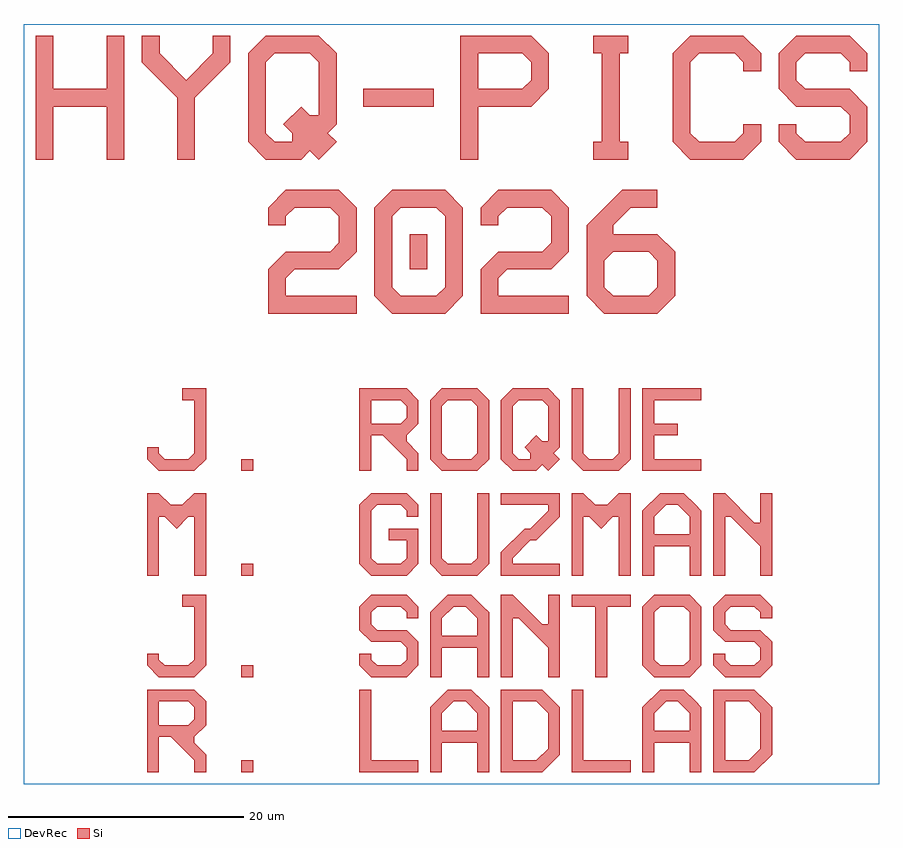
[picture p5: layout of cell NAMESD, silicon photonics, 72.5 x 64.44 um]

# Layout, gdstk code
import gdstk
lib = gdstk.Library(unit=1e-6, precision=1e-09)
def R(c, l, rs):  # rectangles x0, y0, x1, y1
    for r in rs: c.add(gdstk.rectangle(r[:2], r[2:], *l))
def P(c, l, *ps):  # polygons
    for p in ps: c.add(gdstk.Polygon(p, *l))
Si = (1, 0)
DevRec = (68, 0)

namesd = lib.new_cell('NAMESD')
R(namesd, Si, [(17.44,0,18.44,1), (17.44,8.05,18.44,9.05), (17.44,16.66,18.44,17.66), (17.44,25.55,18.44,26.55), (31.71,42.63,33.21,45.63), (27.75,56.44,33.75,57.94)])
P(namesd, Si, [(0,51.94),(0,62.44),(1.5,62.44),(1.5,57.94),(6,57.94),(6,62.44),(7.5,62.44),(7.5,51.94),(6,51.94),(6,56.44),(1.5,56.44),(1.5,51.94)],
  [(12,51.94),(12,57.19),(9,60.19),(9,62.44),(10.5,62.44),(10.5,60.94),(12.75,58.69),(15,60.94),(15,62.44),(16.5,62.44),(16.5,60.19),(13.5,57.19),(13.5,51.94)],
  [(19.5,51.94),(18,53.44),(18,60.94),(19.5,62.44),(24,62.44),(25.5,60.94),(20.25,60.94),(19.5,60.19),(19.5,54.19),(20.25,53.44),(21.75,53.44),(21.75,54.19),(21,54.94),(22.5,56.44),(23.25,55.69),(24,55.69),(24,60.19),(23.25,60.94),(25.5,60.94),(25.5,54.94),(24.75,54.19),(25.5,53.44),(24,51.94),(23.25,52.69),(22.5,51.94)],
  [(36,51.94),(36,62.44),(42,62.44),(43.5,60.94),(43.5,57.94),(42,56.44),(37.5,56.44),(37.5,57.94),(41.25,57.94),(42,58.69),(42,60.19),(41.25,60.94),(37.5,60.94),(37.5,51.94)],
  [(47.25,51.94),(47.25,53.44),(48,53.44),(48,60.94),(47.25,60.94),(47.25,62.44),(50.25,62.44),(50.25,60.94),(49.5,60.94),(49.5,53.44),(50.25,53.44),(50.25,51.94)],
  [(55.5,51.94),(54,53.44),(54,60.94),(55.5,62.44),(60,62.44),(61.5,60.94),(61.5,59.44),(60,59.44),(60,60.19),(59.25,60.94),(56.25,60.94),(55.5,60.19),(55.5,54.19),(56.25,53.44),(59.25,53.44),(60,54.19),(60,54.94),(61.5,54.94),(61.5,53.44),(60,51.94)],
  [(64.5,51.94),(63,53.44),(63,54.94),(64.5,54.94),(64.5,54.19),(65.25,53.44),(68.25,53.44),(69,54.19),(69,55.69),(68.25,56.44),(64.5,56.44),(63,57.94),(63,60.94),(64.5,62.44),(69,62.44),(70.5,60.94),(70.5,59.44),(69,59.44),(69,60.19),(68.25,60.94),(65.25,60.94),(64.5,60.19),(64.5,58.69),(65.25,57.94),(69,57.94),(70.5,56.44),(70.5,53.44),(69,51.94)],
  [(19.71,38.88),(19.71,42.63),(21.21,44.13),(24.96,44.13),(25.71,44.88),(25.71,47.13),(24.96,47.88),(21.96,47.88),(21.21,47.13),(21.21,46.38),(19.71,46.38),(19.71,47.88),(21.21,49.38),(25.71,49.38),(27.21,47.88),(27.21,44.13),(25.71,42.63),(21.96,42.63),(21.21,41.88),(21.21,40.38),(27.21,40.38),(27.21,38.88)],
  [(30.21,38.88),(28.71,40.38),(28.71,47.88),(30.21,49.38),(34.71,49.38),(36.21,47.88),(30.96,47.88),(30.21,47.13),(30.21,41.13),(30.96,40.38),(33.96,40.38),(34.71,41.13),(34.71,47.13),(33.96,47.88),(36.21,47.88),(36.21,40.38),(34.71,38.88)],
  [(37.71,38.88),(37.71,42.63),(39.21,44.13),(42.96,44.13),(43.71,44.88),(43.71,47.13),(42.96,47.88),(39.96,47.88),(39.21,47.13),(39.21,46.38),(37.71,46.38),(37.71,47.88),(39.21,49.38),(43.71,49.38),(45.21,47.88),(45.21,44.13),(43.71,42.63),(39.96,42.63),(39.21,41.88),(39.21,40.38),(45.21,40.38),(45.21,38.88)],
  [(48.21,38.88),(46.71,40.38),(46.71,46.38),(49.71,49.38),(52.71,49.38),(52.71,47.88),(50.46,47.88),(48.96,46.38),(48.96,45.63),(52.71,45.63),(54.21,44.13),(48.96,44.13),(48.21,43.38),(48.21,41.13),(48.96,40.38),(51.96,40.38),(52.71,41.13),(52.71,43.38),(51.96,44.13),(54.21,44.13),(54.21,40.38),(52.71,38.88)],
  [(10.44,25.55),(9.44,26.55),(9.44,27.55),(10.44,27.55),(10.44,27.05),(10.94,26.55),(12.94,26.55),(13.44,27.05),(13.44,31.55),(12.44,31.55),(12.44,32.55),(14.44,32.55),(14.44,26.55),(13.44,25.55)],
  [(27.44,25.55),(27.44,32.55),(31.44,32.55),(32.44,31.55),(28.44,31.55),(28.44,29.55),(30.94,29.55),(31.44,30.05),(31.44,31.05),(30.94,31.55),(32.44,31.55),(32.44,29.55),(31.44,28.55),(31.44,28.05),(32.44,27.05),(32.44,25.55),(31.44,25.55),(31.44,26.55),(29.44,28.55),(28.44,28.55),(28.44,25.55)],
  [(34.44,25.55),(33.44,26.55),(33.44,31.55),(34.44,32.55),(37.44,32.55),(38.44,31.55),(38.44,29.05),(37.44,29.05),(37.44,31.05),(36.94,31.55),(34.94,31.55),(34.44,31.05),(34.44,27.05),(34.94,26.55),(36.94,26.55),(37.44,27.05),(37.44,29.05),(38.44,29.05),(38.44,26.55),(37.44,25.55)],
  [(40.44,25.55),(39.44,26.55),(39.44,31.55),(40.44,32.55),(43.44,32.55),(44.44,31.55),(40.94,31.55),(40.44,31.05),(40.44,27.05),(40.94,26.55),(41.94,26.55),(41.94,27.05),(41.44,27.55),(42.44,28.55),(42.94,28.05),(43.44,28.05),(43.44,31.05),(42.94,31.55),(44.44,31.55),(44.44,27.55),(43.94,27.05),(44.44,26.55),(43.44,25.55),(42.94,26.05),(42.44,25.55)],
  [(46.44,25.55),(45.44,26.55),(45.44,32.55),(46.44,32.55),(46.44,27.05),(46.94,26.55),(48.94,26.55),(49.44,27.05),(49.44,32.55),(50.44,32.55),(50.44,26.55),(49.44,25.55)],
  [(51.44,25.55),(51.44,32.55),(56.44,32.55),(56.44,31.55),(52.44,31.55),(52.44,29.55),(54.44,29.55),(54.44,28.55),(52.44,28.55),(52.44,26.55),(56.44,26.55),(56.44,25.55)],
  [(9.44,16.66),(9.44,23.66),(10.44,23.66),(11.44,22.66),(12.44,22.66),(13.44,23.66),(14.44,23.66),(14.44,16.66),(13.44,16.66),(13.44,21.66),(12.94,21.66),(11.94,20.66),(10.94,21.66),(10.44,21.66),(10.44,16.66)],
  [(28.44,16.66),(27.44,17.66),(27.44,22.66),(28.44,23.66),(31.44,23.66),(32.44,22.66),(32.44,21.66),(31.44,21.66),(31.44,22.16),(30.94,22.66),(28.94,22.66),(28.44,22.16),(28.44,18.16),(28.94,17.66),(30.94,17.66),(31.44,18.16),(31.44,19.66),(29.94,19.66),(29.94,20.66),(32.44,20.66),(32.44,17.66),(31.44,16.66)],
  [(34.44,16.66),(33.44,17.66),(33.44,23.66),(34.44,23.66),(34.44,18.16),(34.94,17.66),(36.94,17.66),(37.44,18.16),(37.44,23.66),(38.44,23.66),(38.44,17.66),(37.44,16.66)],
  [(39.44,16.66),(39.44,18.66),(41.44,20.66),(41.94,20.66),(43.44,22.16),(43.44,22.66),(39.44,22.66),(39.44,23.66),(44.44,23.66),(44.44,21.66),(42.44,19.66),(41.94,19.66),(40.44,18.16),(40.44,17.66),(44.44,17.66),(44.44,16.66)],
  [(45.44,16.66),(45.44,23.66),(46.44,23.66),(47.44,22.66),(48.44,22.66),(49.44,23.66),(50.44,23.66),(50.44,16.66),(49.44,16.66),(49.44,21.66),(48.94,21.66),(47.94,20.66),(46.94,21.66),(46.44,21.66),(46.44,16.66)],
  [(51.44,16.66),(51.44,22.16),(52.94,23.66),(54.94,23.66),(55.94,22.66),(53.44,22.66),(52.44,21.66),(52.44,20.16),(55.44,20.16),(55.44,21.66),(54.44,22.66),(55.94,22.66),(56.44,22.16),(56.44,16.66),(55.44,16.66),(55.44,19.16),(52.44,19.16),(52.44,16.66)],
  [(57.44,16.66),(57.44,23.66),(58.44,23.66),(60.94,21.16),(61.44,21.16),(61.44,23.66),(62.44,23.66),(62.44,16.66),(61.44,16.66),(61.44,19.16),(58.94,21.66),(58.44,21.66),(58.44,16.66)],
  [(10.44,8.05),(9.44,9.05),(9.44,10.05),(10.44,10.05),(10.44,9.55),(10.94,9.05),(12.94,9.05),(13.44,9.55),(13.44,14.05),(12.44,14.05),(12.44,15.05),(14.44,15.05),(14.44,9.05),(13.44,8.05)],
  [(28.44,8.05),(27.44,9.05),(27.44,10.05),(28.44,10.05),(28.44,9.55),(28.94,9.05),(30.94,9.05),(31.44,9.55),(31.44,10.55),(30.94,11.05),(28.44,11.05),(27.44,12.05),(27.44,14.05),(28.44,15.05),(31.44,15.05),(32.44,14.05),(32.44,13.05),(31.44,13.05),(31.44,13.55),(30.94,14.05),(28.94,14.05),(28.44,13.55),(28.44,12.55),(28.94,12.05),(31.44,12.05),(32.44,11.05),(32.44,9.05),(31.44,8.05)],
  [(33.44,8.05),(33.44,13.55),(34.94,15.05),(36.94,15.05),(37.94,14.05),(35.44,14.05),(34.44,13.05),(34.44,11.55),(37.44,11.55),(37.44,13.05),(36.44,14.05),(37.94,14.05),(38.44,13.55),(38.44,8.05),(37.44,8.05),(37.44,10.55),(34.44,10.55),(34.44,8.05)],
  [(39.44,8.05),(39.44,15.05),(40.44,15.05),(42.94,12.55),(43.44,12.55),(43.44,15.05),(44.44,15.05),(44.44,8.05),(43.44,8.05),(43.44,10.55),(40.94,13.05),(40.44,13.05),(40.44,8.05)],
  [(47.44,8.05),(47.44,14.05),(45.44,14.05),(45.44,15.05),(50.44,15.05),(50.44,14.05),(48.44,14.05),(48.44,8.05)],
  [(52.44,8.05),(51.44,9.05),(51.44,14.05),(52.44,15.05),(55.44,15.05),(56.44,14.05),(56.44,11.55),(55.44,11.55),(55.44,13.55),(54.94,14.05),(52.94,14.05),(52.44,13.55),(52.44,9.55),(52.94,9.05),(54.94,9.05),(55.44,9.55),(55.44,11.55),(56.44,11.55),(56.44,9.05),(55.44,8.05)],
  [(58.44,8.05),(57.44,9.05),(57.44,10.05),(58.44,10.05),(58.44,9.55),(58.94,9.05),(60.94,9.05),(61.44,9.55),(61.44,10.55),(60.94,11.05),(58.44,11.05),(57.44,12.05),(57.44,14.05),(58.44,15.05),(61.44,15.05),(62.44,14.05),(62.44,13.05),(61.44,13.05),(61.44,13.55),(60.94,14.05),(58.94,14.05),(58.44,13.55),(58.44,12.55),(58.94,12.05),(61.44,12.05),(62.44,11.05),(62.44,9.05),(61.44,8.05)],
  [(9.44,0),(9.44,7),(13.44,7),(14.44,6),(10.44,6),(10.44,4),(12.94,4),(13.44,4.5),(13.44,5.5),(12.94,6),(14.44,6),(14.44,4),(13.44,3),(13.44,2.5),(14.44,1.5),(14.44,0),(13.44,0),(13.44,1),(11.44,3),(10.44,3),(10.44,0)],
  [(27.44,0),(27.44,7),(28.44,7),(28.44,1),(32.44,1),(32.44,0)],
  [(33.44,0),(33.44,5.5),(34.94,7),(36.94,7),(37.94,6),(35.44,6),(34.44,5),(34.44,3.5),(37.44,3.5),(37.44,5),(36.44,6),(37.94,6),(38.44,5.5),(38.44,0),(37.44,0),(37.44,2.5),(34.44,2.5),(34.44,0)],
  [(39.44,0),(39.44,7),(42.94,7),(43.94,6),(40.44,6),(40.44,1),(42.44,1),(43.44,2),(43.44,5),(42.44,6),(43.94,6),(44.44,5.5),(44.44,1.5),(42.94,0)],
  [(45.44,0),(45.44,7),(46.44,7),(46.44,1),(50.44,1),(50.44,0)],
  [(51.44,0),(51.44,5.5),(52.94,7),(54.94,7),(55.94,6),(53.44,6),(52.44,5),(52.44,3.5),(55.44,3.5),(55.44,5),(54.44,6),(55.94,6),(56.44,5.5),(56.44,0),(55.44,0),(55.44,2.5),(52.44,2.5),(52.44,0)],
  [(57.44,0),(57.44,7),(60.94,7),(61.94,6),(58.44,6),(58.44,1),(60.44,1),(61.44,2),(61.44,5),(60.44,6),(61.94,6),(62.44,5.5),(62.44,1.5),(60.94,0)])
R(namesd, DevRec, [(-1,-1,71.5,63.44)])

lib.write_gds('NAMESD.gds')
